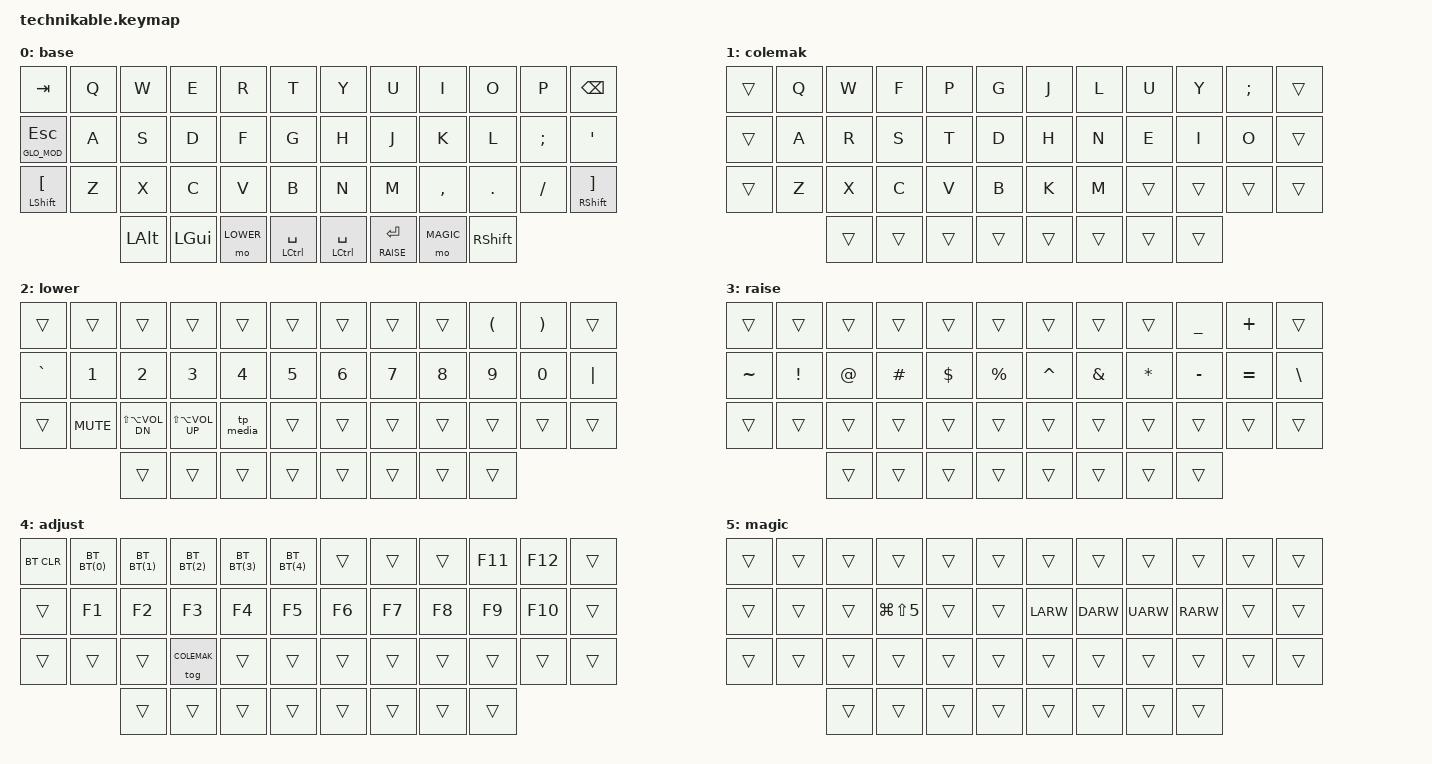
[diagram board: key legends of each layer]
/*
 * Copyright (c) 2022 Pete Johanson
 *
 * SPDX-License-Identifier: MIT
 */

#include <behaviors.dtsi>
#include <dt-bindings/zmk/keys.h>
#include <dt-bindings/zmk/bt.h>
#include <dt-bindings/zmk/outputs.h>


#define TBLE_ORTHO   true
// #define TBLE_MIT     true
// #define TBLE_DUAL_2U true

#define BASE    0
#define COLEMAK 1
#define LOWER   2
#define RAISE   3
#define ADJUST  4
#define MAGIC   5


// Readability keycodes
#define BT(n) BT_SEL n
#define CTL_SPC  &mt LCTRL SPACE
#define C_VOL_D  &kp LS(LA(C_VOL_DN))
#define C_VOL_U  &kp LS(LA(C_VOL_UP))
#define GLM_ESC  &mt GLO_MOD ESC
#define GLO_MOD  LS(LA(LMETA))
#define LOW_ENT  &lt LOWER ENTER
#define LSFT_LB  &mt LSHFT LBKT
#define RAI_ENT  &lt RAISE ENTER
#define RSFT_ENT &mt RSHFT ENTER
#define RSFT_RB  &mt RSHFT RBKT
#define SCRSHOT  &kp LG(LS(N5))


// Using layer taps on thumbs, having quick tap as well helps w/ repeating space/backspace
&lt {
    quick_tap_ms = <200>;
    tapping_term_ms = <120>;
};

&mt {
    quick_tap_ms = <200>;
    tapping_term_ms = <120>;
};


/ {
    chosen {
       zmk,physical-layout =
#ifdef TBLE_DUAL_2U
                       &technikable_dual_2u_layout;
#elif defined(TBLE_MIT)
                       &technikable_mit_layout;
#else
                       &technikable_ortho_layout;
#endif
    };

    conditional_layers {
        compatible = "zmk,conditional-layers";
	tri_layer {
 	    if-layers = <LOWER RAISE>;
 	    then-layer = <ADJUST>;
	};
    };

    behaviors {
        tp_media: tap_dance_media {
            compatible = "zmk,behavior-tap-dance";
            #binding-cells = <0>;
            tapping-term-ms = <250>;
            bindings = <&kp C_PP>, <&kp C_NEXT>, <&kp C_PREV>;
        };
    };

    keymap {
        compatible = "zmk,keymap";

        base_layer {
            label = "base";
            bindings = <
&kp TAB      &kp Q        &kp W        &kp E        &kp R        &kp T        &kp Y        &kp U        &kp I        &kp O        &kp P        &kp BKSP
GLM_ESC      &kp A        &kp S        &kp D        &kp F        &kp G        &kp H        &kp J        &kp K        &kp L        &kp SEMI     &kp QUOT
LSFT_LB      &kp Z        &kp X        &kp C        &kp V        &kp B        &kp N        &kp M        &kp COMMA    &kp DOT      &kp FSLH     RSFT_RB
                          &kp LALT     &kp LGUI     &mo LOWER    CTL_SPC      CTL_SPC      RAI_ENT      &mo MAGIC    &kp RSHIFT     
           >;
       };

       colemak_layer {
           label = "colemak";
           bindings = <
&trans       &kp Q        &kp W        &kp F        &kp P        &kp G        &kp J        &kp L        &kp U        &kp Y        &kp SEMI     &trans
&trans       &kp A        &kp R        &kp S        &kp T        &kp D        &kp H        &kp N        &kp E        &kp I        &kp O        &trans
&trans       &kp Z        &kp X        &kp C        &kp V        &kp B        &kp K        &kp M        &trans       &trans       &trans       &trans
                          &trans       &trans       &trans       &trans       &trans       &trans       &trans       &trans
            >;
        };

        lower_layer {
            label = "lower";
            bindings = <
&trans       &trans       &trans       &trans       &trans       &trans       &trans       &trans       &trans       &kp LPAR     &kp RPAR     &trans
&kp GRAVE    &kp N1       &kp N2       &kp N3       &kp N4       &kp N5       &kp N6       &kp N7       &kp N8       &kp N9       &kp N0       &kp PIPE
&trans       &kp C_MUTE   C_VOL_D      C_VOL_U      &tp_media    &trans       &trans       &trans       &trans       &trans       &trans       &trans
                          &trans       &trans       &trans       &trans       &trans       &trans       &trans       &trans
            >;
        };

        raise_layer {
            label = "raise";
            bindings = <
&trans       &trans       &trans       &trans       &trans       &trans       &trans       &trans       &trans       &kp UNDER    &kp PLUS     &trans
&kp TILDE    &kp EXCL     &kp AT       &kp HASH     &kp DLLR     &kp PRCNT    &kp CARET    &kp AMPS     &kp ASTRK    &kp MINUS    &kp EQUAL    &kp BSLH
&trans       &trans       &trans       &trans       &trans       &trans       &trans       &trans       &trans       &trans       &trans       &trans
                          &trans       &trans       &trans       &trans       &trans       &trans       &trans       &trans
            >;
        };

        adjust_layer {
            label = "adjust";
            bindings = <
&bt BT_CLR   &bt BT(0)    &bt BT(1)    &bt BT(2)    &bt BT(3)    &bt BT(4)    &trans       &trans       &trans       &kp F11      &kp F12      &trans
&trans       &kp F1       &kp F2       &kp F3       &kp F4       &kp F5       &kp F6       &kp F7       &kp F8       &kp F9       &kp F10      &trans
&trans       &trans       &trans       &tog COLEMAK &trans       &trans       &trans       &trans       &trans       &trans       &trans       &trans
                          &trans       &trans       &trans       &trans       &trans       &trans       &trans       &trans
            >;
        };

        magic_layer {
            label = "magic";
            bindings = <
&trans       &trans       &trans       &trans       &trans       &trans       &trans       &trans       &trans       &trans       &trans       &trans
&trans       &trans       &trans       SCRSHOT      &trans       &trans       &kp LARW     &kp DARW     &kp UARW     &kp RARW     &trans       &trans
&trans       &trans       &trans       &trans       &trans       &trans       &trans       &trans       &trans       &trans       &trans       &trans
                          &trans       &trans       &trans       &trans       &trans       &trans       &trans       &trans
            >;
        };

    };
};
